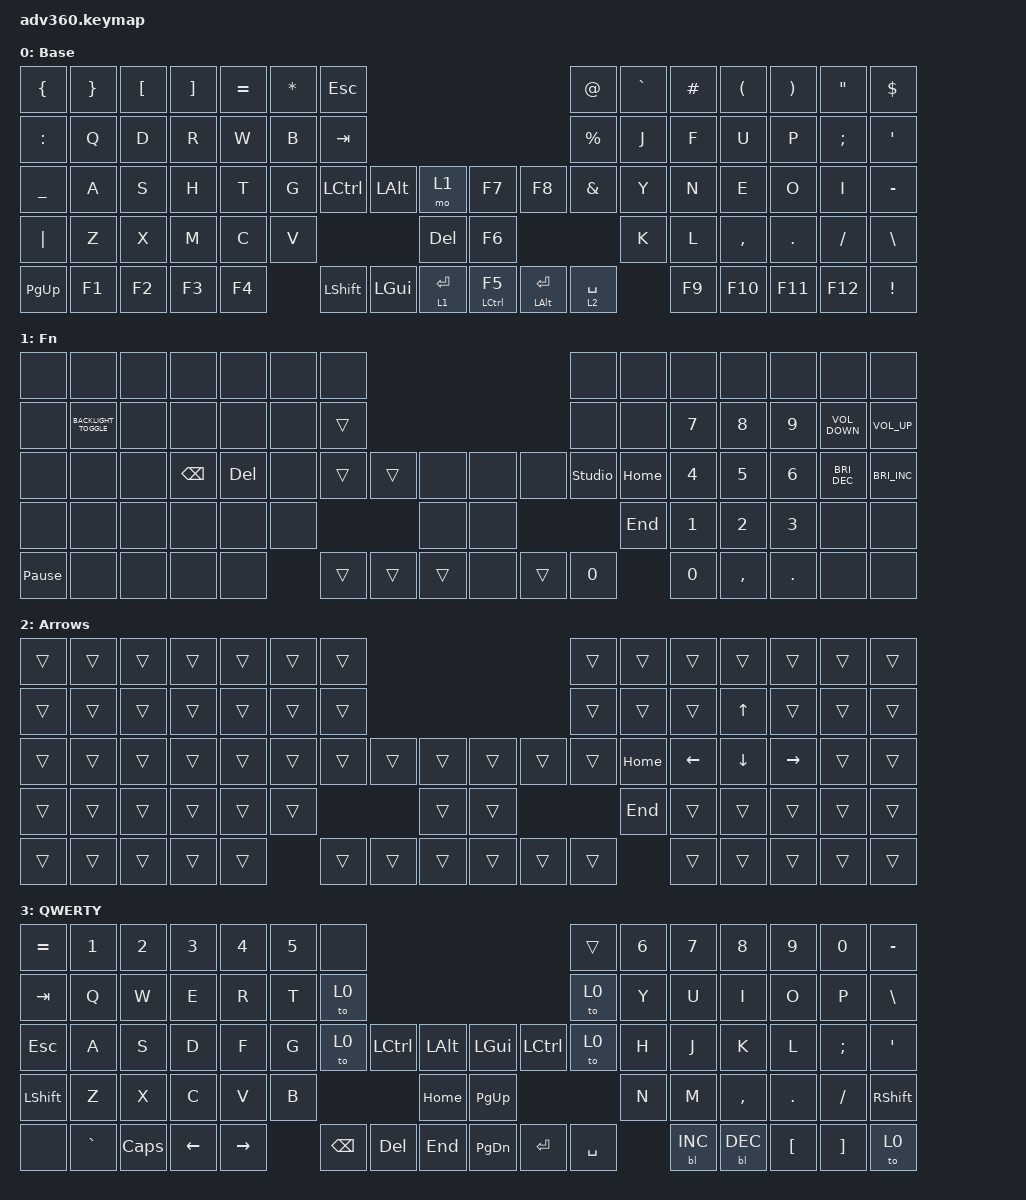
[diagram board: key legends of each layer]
#include <dt-bindings/zmk/stp.h>
#include <behaviors.dtsi>
#include <dt-bindings/zmk/backlight.h>
#include <dt-bindings/zmk/keys.h>

/ {
    behaviors {
        #include "macros.dtsi"
      #include "version.dtsi"

        hm: homerow_mods {
            compatible = "zmk,behavior-hold-tap";
            label = "HOMEROW_MODS";
            #binding-cells = <2>;
            tapping-term-ms = <200>;
            quick_tap_ms = <175>;
            flavor = "tap-preferred";
            bindings = <&kp>, <&kp>;
        };
    };

    keymap {
        compatible = "zmk,keymap";

        default_workman_layer {
            display-name = "Base";
            bindings = <
&kp LEFT_BRACE  &kp RIGHT_BRACE  &kp LEFT_BRACKET  &kp RIGHT_BRACKET  &kp EQUAL  &kp ASTERISK  &kp ESCAPE                                                                                &kp AT_SIGN    &kp GRAVE  &kp HASH  &kp LEFT_PARENTHESIS  &kp RIGHT_PARENTHESIS  &kp DOUBLE_QUOTES  &kp DOLLAR
&kp COLON       &kp Q            &kp D             &kp R              &kp W      &kp B         &kp TAB                                                                                   &kp PERCENT    &kp J      &kp F     &kp U                 &kp P                  &kp SEMICOLON      &kp SINGLE_QUOTE
&kp UNDERSCORE  &kp A            &kp S             &kp H              &kp T      &kp G         &kp LEFT_CONTROL  &kp LEFT_ALT  &mo 1            &kp F7               &kp F8              &kp AMPERSAND  &kp Y      &kp N     &kp E                 &kp O                  &kp I              &kp MINUS
&kp PIPE        &kp Z            &kp X             &kp M              &kp C      &kp V                                         &kp DELETE       &kp F6                                                  &kp K      &kp L     &kp COMMA             &kp DOT                &kp FSLH           &kp BACKSLASH
&kp PAGE_UP     &kp F1           &kp F2            &kp F3             &kp F4                   &kp LEFT_SHIFT    &kp LEFT_GUI  &lt 1 ENTER      &mt LEFT_CONTROL F5  &mt LEFT_ALT ENTER  &lt 2 SPACE               &kp F9    &kp F10               &kp F11                &kp F12            &kp EXCLAMATION
            >;
        };

        Fn {
            bindings = <
&none            &none                   &none  &none     &none       &none  &none                                      &none           &none     &none   &none      &none    &none                 &none
&none            &kp C_BACKLIGHT_TOGGLE  &none  &none     &none       &none  &trans                                     &none           &none     &kp N7  &kp N8     &kp N9   &kp C_VOLUME_DOWN     &kp C_VOLUME_UP
&none            &none                   &none  &kp BSPC  &kp DELETE  &none  &trans  &trans  &none       &none  &none   &studio_unlock  &kp HOME  &kp N4  &kp N5     &kp N6   &kp C_BRIGHTNESS_DEC  &kp C_BRIGHTNESS_INC
&none            &none                   &none  &none     &none       &none                  &none       &none                          &kp END   &kp N1  &kp N2     &kp N3   &none                 &none
&kp PAUSE_BREAK  &none                   &none  &none     &none              &trans  &trans  &trans      &none  &trans  &kp N0                    &kp N0  &kp COMMA  &kp DOT  &none                 &none
            >;

            label = "Fn";
        };

        Arrows {
            bindings = <
&trans  &trans  &trans  &trans  &trans  &trans  &trans                                      &trans  &trans    &trans    &trans        &trans     &trans  &trans
&trans  &trans  &trans  &trans  &trans  &trans  &trans                                      &trans  &trans    &trans    &kp UP_ARROW  &trans     &trans  &trans
&trans  &trans  &trans  &trans  &trans  &trans  &trans  &trans  &trans      &trans  &trans  &trans  &kp HOME  &kp LEFT  &kp DOWN      &kp RIGHT  &trans  &trans
&trans  &trans  &trans  &trans  &trans  &trans                  &trans      &trans                  &kp END   &trans    &trans        &trans     &trans  &trans
&trans  &trans  &trans  &trans  &trans          &trans  &trans  &trans      &trans  &trans  &trans            &trans    &trans        &trans     &trans  &trans
            >;

            label = "Arrows";
        };

        QWERTY {
            display-name = "QWERTY";
            bindings = <
&kp EQUAL  &kp N1     &kp N2    &kp N3    &kp N4     &kp N5  &none                                                                          &trans     &kp N6  &kp N7      &kp N8      &kp N9    &kp N0    &kp MINUS
&kp TAB    &kp Q      &kp W     &kp E     &kp R      &kp T   &to 0                                                                          &to 0      &kp Y   &kp U       &kp I       &kp O     &kp P     &kp BSLH
&kp ESC    &kp A      &kp S     &kp D     &kp F      &kp G   &to 0     &kp LEFT_CONTROL  &kp LEFT_ALT      &kp LEFT_GUI   &kp LEFT_CONTROL  &to 0      &kp H   &kp J       &kp K       &kp L     &kp SEMI  &kp APOS
&kp LSHFT  &kp Z      &kp X     &kp C     &kp V      &kp B                               &kp HOME          &kp PAGE_UP                                 &kp N   &kp M       &kp COMMA   &kp DOT   &kp FSLH  &kp RSHFT
&none      &kp GRAVE  &kp CAPS  &kp LEFT  &kp RIGHT          &kp BSPC  &kp DELETE        &kp END           &kp PAGE_DOWN  &kp ENTER         &kp SPACE          &bl BL_INC  &bl BL_DEC  &kp LBKT  &kp RBKT  &to 0
            >;
        };
    };
};
